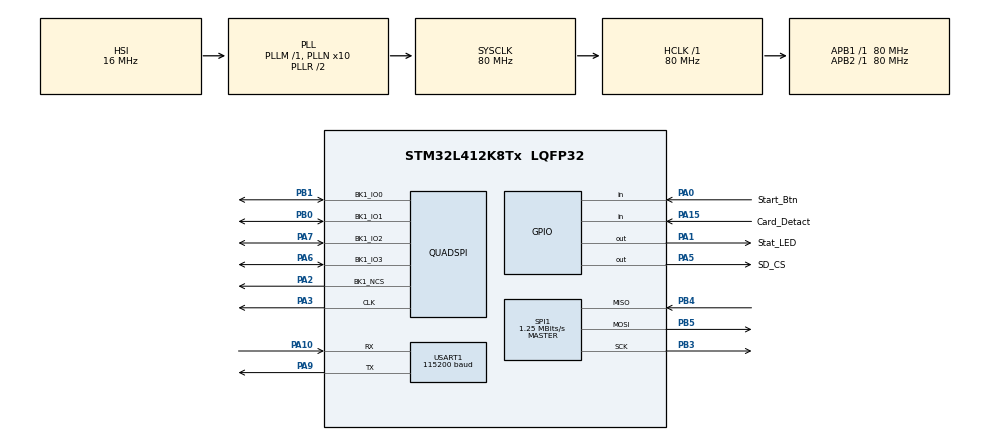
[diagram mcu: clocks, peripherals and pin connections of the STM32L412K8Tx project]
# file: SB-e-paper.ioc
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FATFS._MAX_SS=512
Mcu.Family=STM32L4
Mcu.Name=STM32L412K8Tx
Mcu.Package=LQFP32
NVIC.PriorityGroup=NVIC_PRIORITYGROUP_4
NVIC.TIM1_BRK_TIM15_IRQn=true\:0\:0\:false\:false\:true\:true\:true
NVIC.TIM1_TRG_COM_IRQn=true\:0\:0\:false\:false\:true\:true\:true
NVIC.TIM1_UP_TIM16_IRQn=true\:0\:0\:false\:false\:true\:true\:true
PA0-CK_IN.GPIO_Label=Start_Btn
PA0-CK_IN.GPIO_PuPd=GPIO_PULLUP
PA0-CK_IN.Signal=GPIO_Input
PA1.GPIO_Label=Stat_LED
PA1.Signal=GPIO_Output
PA10.Mode=Asynchronous
PA10.Signal=USART1_RX
PA13\ (JTMS/SWDIO).Mode=Serial_Wire
PA13\ (JTMS/SWDIO).Signal=SYS_JTMS-SWDIO
PA14\ (JTCK/SWCLK).Mode=Serial_Wire
PA14\ (JTCK/SWCLK).Signal=SYS_JTCK-SWCLK
PA15\ (JTDI).GPIO_Label=Card_Detact
PA15\ (JTDI).GPIO_PuPd=GPIO_PULLUP
PA15\ (JTDI).Signal=GPIO_Input
PA2.Mode=Single Bank 1
PA2.Signal=QUADSPI_BK1_NCS
PA3.Mode=Single Bank 1
PA3.Signal=QUADSPI_CLK
PA5.GPIO_Label=SD_CS
PA5.Signal=GPIO_Output
PA6.Mode=Single Bank 1
PA6.Signal=QUADSPI_BK1_IO3
PA7.Mode=Single Bank 1
PA7.Signal=QUADSPI_BK1_IO2
PA9.Mode=Asynchronous
PA9.Signal=USART1_TX
PB0.Mode=Single Bank 1
PB0.Signal=QUADSPI_BK1_IO1
PB1.Mode=Single Bank 1
PB1.Signal=QUADSPI_BK1_IO0
PB3\ (JTDO/TRACESWO).Mode=Full_Duplex_Master
PB3\ (JTDO/TRACESWO).Signal=SPI1_SCK
PB4\ (NJTRST).Mode=Full_Duplex_Master
PB4\ (NJTRST).Signal=SPI1_MISO
PB5.Mode=Full_Duplex_Master
PB5.Signal=SPI1_MOSI
ProjectManager.HeapSize=0x2000
ProjectManager.StackSize=0x2000
ProjectManager.TargetToolchain=Makefile
QUADSPI.ChipSelectHighTime=QSPI_CS_HIGH_TIME_1_CYCLE
QUADSPI.ClockPrescaler=48
QUADSPI.FifoThreshold=4
QUADSPI.FlashSize=31
QUADSPI.SampleShifting=QSPI_SAMPLE_SHIFTING_NONE
RCC.ADCFreq_Value=80000000
RCC.AHBFreq_Value=80000000
RCC.APB1Freq_Value=80000000
RCC.APB1TimFreq_Value=80000000
RCC.APB2Freq_Value=80000000
RCC.APB2TimFreq_Value=80000000
RCC.CortexFreq_Value=80000000
RCC.HCLKFreq_Value=80000000
RCC.HSE_VALUE=8000000
RCC.HSI48_VALUE=48000000
RCC.HSI_VALUE=16000000
RCC.LSE_VALUE=32768
RCC.MSIClockRange=RCC_MSIRANGE_11
RCC.MSI_VALUE=48000000
RCC.PLLN=10
RCC.PLLSourceVirtual=RCC_PLLSOURCE_HSI
RCC.SYSCLKFreq_VALUE=80000000
RCC.SYSCLKSource=RCC_SYSCLKSOURCE_PLLCLK
RCC.USBFreq_Value=48000000
RCC.VCOOutputFreq_Value=160000000
SPI1.BaudRatePrescaler=SPI_BAUDRATEPRESCALER_64
SPI1.CalculateBaudRate=1.25 MBits/s
SPI1.DataSize=SPI_DATASIZE_8BIT
SPI1.Direction=SPI_DIRECTION_2LINES
SPI1.Mode=SPI_MODE_MASTER
SPI1.VirtualType=VM_MASTER
TIM1.Period=200-1
TIM1.Prescaler=200-1
TIM1.RepetitionCounter=100-1
USART1.BaudRate=115200
USART1.VirtualMode-Asynchronous=VM_ASYNC
VP_FATFS_VS_Generic.Mode=User_defined
VP_TIM1_VS_ClockSourceINT.Mode=Internal
board=custom

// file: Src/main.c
/* USER CODE BEGIN Header */
/**
  ******************************************************************************
  * @file           : main.c
  * @brief          : Main program body
  ******************************************************************************
  * @attention
  *
  * <h2><center>&copy; Copyright (c) 2020 STMicroelectronics.
  * All rights reserved.</center></h2>
  *
  * This software component is licensed by ST under Ultimate Liberty license
  * SLA0044, the "License"; You may not use this file except in compliance with
  * the License. You may obtain a copy of the License at:
  *                             www.st.com/SLA0044
  *
  ******************************************************************************
  */
/* USER CODE END Header */

#include "main.h"
#include "fatfs.h"
#include "quadspi.h"
#include "spi.h"
#include "tim.h"
#include "usart.h"
#include "gpio.h"

/* USER CODE BEGIN Includes */
#include "stm32l4xx_hal.h"
#include "Debug.h"
#include <stdlib.h>
#include <stdio.h>
#include "Flasher.h"
/* USER CODE END Includes */

/* USER CODE BEGIN PM */
extern int LED_Mode;
uint32_t Debug_uint1 = 0;
uint32_t Debug_uint2 = 0;
/* USER CODE END PM */

/* USER CODE BEGIN PV */
extern TIM_HandleTypeDef htim1;
extern SPI_HandleTypeDef hspi1;
extern QSPI_HandleTypeDef hqspi;
/* USER CODE END PV */

void SystemClock_Config(void);
/* USER CODE BEGIN PFP */
extern
/* USER CODE END PFP */

int main(void)
{

  /* MCU Configuration--------------------------------------------------------*/

  /* Reset of all peripherals, Initializes the Flash interface and the Systick. */
  HAL_Init();

  /* Configure the system clock */
  SystemClock_Config();

  /* Initialize all configured peripherals */
  MX_GPIO_Init();
  MX_SPI1_Init();
  MX_USART1_UART_Init();
  MX_QUADSPI_Init();
  MX_TIM1_Init();
  /* USER CODE BEGIN 2 */
  LED_Mode = 1;
  /* USER CODE END 2 */

  /* Infinite loop */
  while (1)
  {

    /* USER CODE BEGIN 3 */
    LED_Mode = 1;
    my_printf("Booting!! Start Button Waiting!");
    while(Start_Btn_GPIO_Port->IDR & Start_Btn_Pin)HAL_Delay(100);
    LED_Mode = 2;
    my_printf("Start!!!");
    Flasher_Init();
    //Flasher_Loop();
  }
  /* USER CODE END 3 */
}

void SystemClock_Config(void)
{
  RCC_OscInitTypeDef RCC_OscInitStruct = {0};
  RCC_ClkInitTypeDef RCC_ClkInitStruct = {0};
  RCC_PeriphCLKInitTypeDef PeriphClkInit = {0};

  /** Configure the main internal regulator output voltage
  */
  if (HAL_PWREx_ControlVoltageScaling(PWR_REGULATOR_VOLTAGE_SCALE1) != HAL_OK)
  {
    Error_Handler();
  }
  /** Initializes the CPU, AHB and APB busses clocks
  */
  RCC_OscInitStruct.OscillatorType = RCC_OSCILLATORTYPE_HSI;
  RCC_OscInitStruct.HSIState = RCC_HSI_ON;
  RCC_OscInitStruct.HSICalibrationValue = RCC_HSICALIBRATION_DEFAULT;
  RCC_OscInitStruct.PLL.PLLState = RCC_PLL_ON;
  RCC_OscInitStruct.PLL.PLLSource = RCC_PLLSOURCE_HSI;
  RCC_OscInitStruct.PLL.PLLM = 1;
  RCC_OscInitStruct.PLL.PLLN = 10;
  RCC_OscInitStruct.PLL.PLLQ = RCC_PLLQ_DIV2;
  RCC_OscInitStruct.PLL.PLLR = RCC_PLLR_DIV2;
  if (HAL_RCC_OscConfig(&RCC_OscInitStruct) != HAL_OK)
  {
    Error_Handler();
  }
  /** Initializes the CPU, AHB and APB busses clocks
  */
  RCC_ClkInitStruct.ClockType = RCC_CLOCKTYPE_HCLK|RCC_CLOCKTYPE_SYSCLK
                              |RCC_CLOCKTYPE_PCLK1|RCC_CLOCKTYPE_PCLK2;
  RCC_ClkInitStruct.SYSCLKSource = RCC_SYSCLKSOURCE_PLLCLK;
  RCC_ClkInitStruct.AHBCLKDivider = RCC_SYSCLK_DIV1;
  RCC_ClkInitStruct.APB1CLKDivider = RCC_HCLK_DIV1;
  RCC_ClkInitStruct.APB2CLKDivider = RCC_HCLK_DIV1;

  if (HAL_RCC_ClockConfig(&RCC_ClkInitStruct, FLASH_LATENCY_4) != HAL_OK)
  {
    Error_Handler();
  }
  PeriphClkInit.PeriphClockSelection = RCC_PERIPHCLK_USART1;
  PeriphClkInit.Usart1ClockSelection = RCC_USART1CLKSOURCE_PCLK2;
  if (HAL_RCCEx_PeriphCLKConfig(&PeriphClkInit) != HAL_OK)
  {
    Error_Handler();
  }
}

void Error_Handler(void)
{
}

/************************ (C) COPYRIGHT STMicroelectronics *****END OF FILE****/
